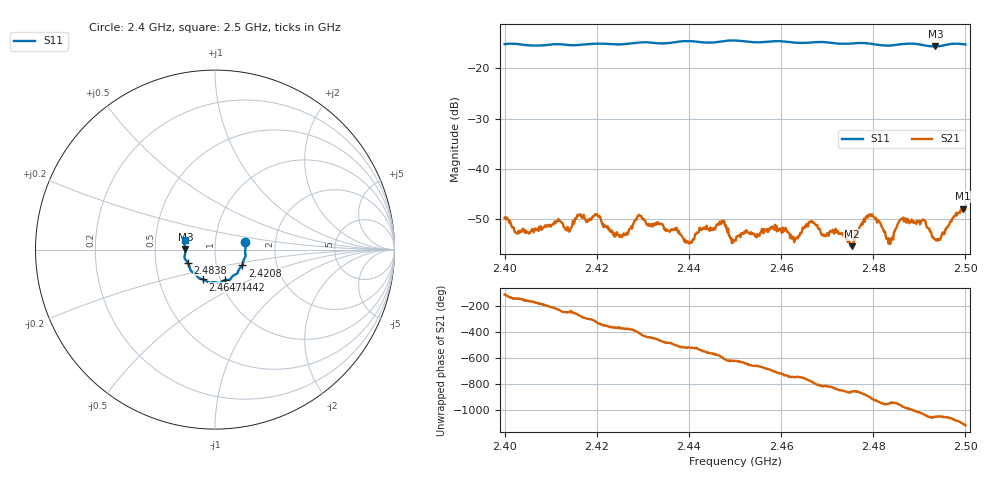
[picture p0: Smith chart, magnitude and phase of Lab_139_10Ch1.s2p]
# Hz S RI R 50
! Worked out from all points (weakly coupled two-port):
!   601 points, 2.4 GHz to 2.5 GHz, reference 50 ohm
!   highest |S21| = -47.92 dB at 2.4995 GHz (marker M1); lowest = -55.4 dB at 2.4753 GHz (marker M2)
!   lowest |S11| = -15.7 dB at 2.4935 GHz (marker M3), VSWR 1.39, Z = 35.8 + j0.191 ohm
!   |S11| at or under -10 dB: start of sweep to end of sweep
!   S12 and S22 are empty: the file has one direction only
!   S11 on the Smith chart (normalised r, x): 2.4 GHz: 1.40, +0.12; 2.4208 GHz: 1.33, -0.24; 2.4442 GHz: 1.05, -0.37; 2.4647 GHz: 0.83, -0.28; 2.4838 GHz: 0.73, -0.11; 2.5 GHz: 0.71, +0.08
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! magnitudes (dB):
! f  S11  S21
! 2.4 GHz  -15.2  -49.8
! 2.4052 GHz  -15.4  -52.7
! 2.4167 GHz  -15.3  -49.7
! 2.4208 GHz  -15.1  -49.9
! 2.425 GHz  -15.2  -53.6
! 2.4292 GHz  -14.9  -49.2
! 2.4333 GHz  -15.0  -50.9
! 2.4402 GHz  -14.6  -54.9
! 2.4442 GHz  -14.9  -52.0
! 2.4472 GHz  -14.6  -50.4
! 2.45 GHz  -14.5  -54.3
! 2.4647 GHz  -14.9  -51.7
! 2.4667 GHz  -14.8  -50.4
! 2.4753 GHz  -15.1  -55.4
! 2.4795 GHz  -15.1  -49.4
! 2.4833 GHz  -15.5  -54.9
! 2.4838 GHz  -15.5  -54.3
! 2.4865 GHz  -15.1  -49.7
! 2.4908 GHz  -15.4  -50.1
! 2.4935 GHz  -15.7  -54.0
! 2.4995 GHz  -15.2  -47.9
! 2.5 GHz  -15.3  -48.0
